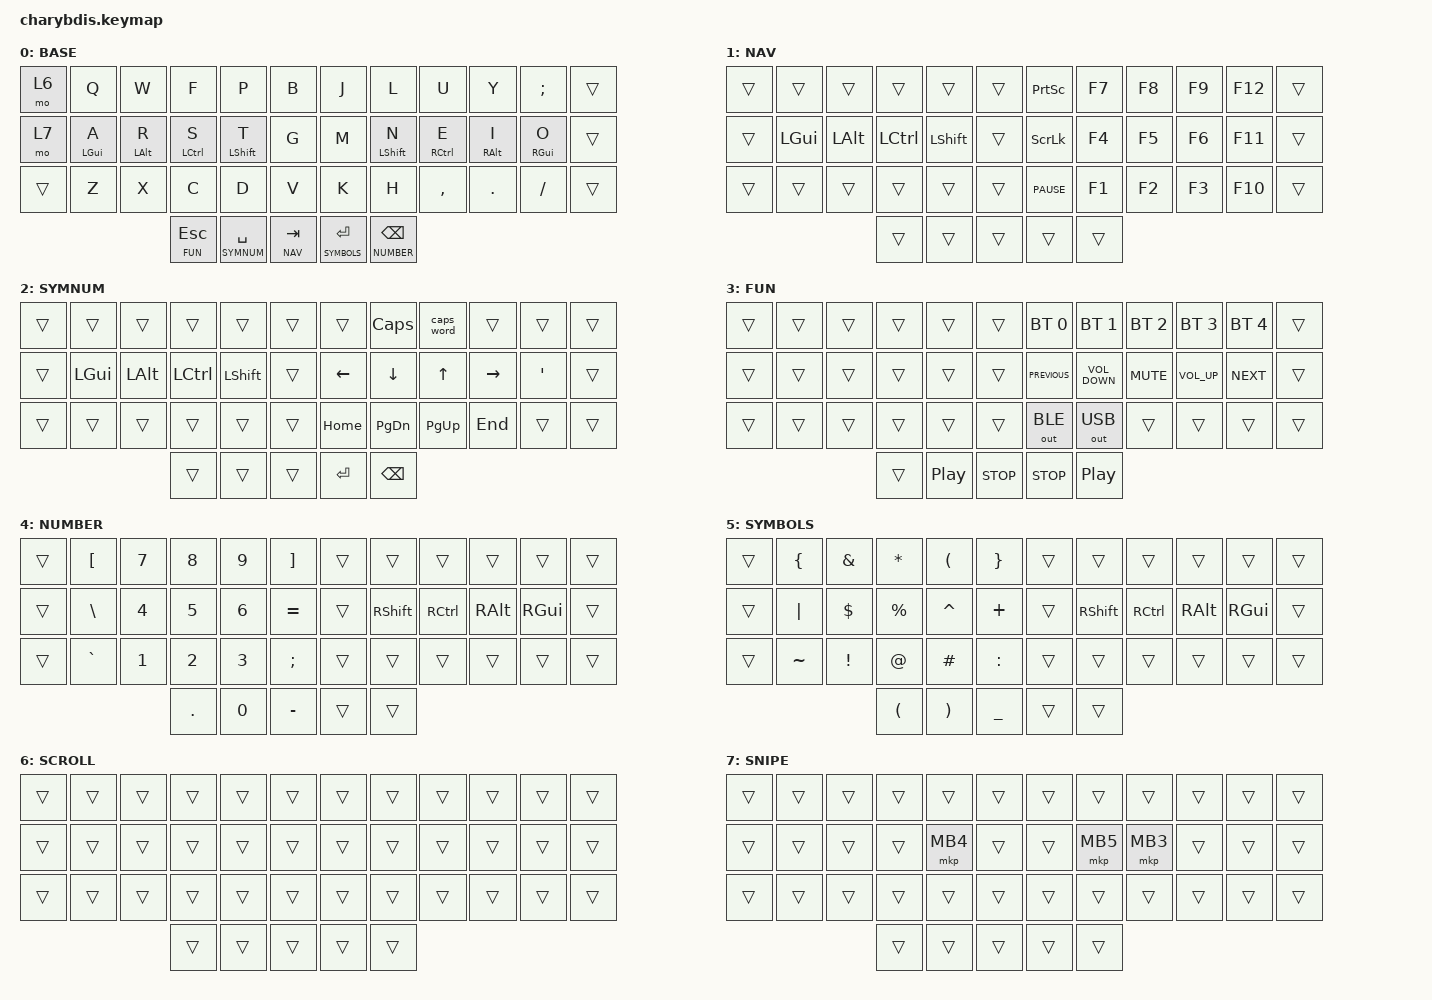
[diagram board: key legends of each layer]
#include <behaviors/mouse_keys.dtsi>
#include <behaviors.dtsi>
#include <dt-bindings/zmk/bt.h>
#include <dt-bindings/zmk/keys.h>
#include <dt-bindings/zmk/pointing.h>
#include <dt-bindings/zmk/outputs.h>

#define U_TAPPING_TERM 175
#define BASE 0
#define NAV 1
#define SYMNUM 2
#define FUN 3
#define NUMBER 4
#define SYMBOLS 5
#define SCROLL 6
#define SNIPE 7

/ {
    chosen { zmk,matrix_transform = &default_transform; };
};

/ {
    combos {
        compatible = "zmk,combos";

        LeftClickLeft {
            bindings = <&mkp LCLK>;
            key-positions = <28 27>;
        };

        RightClickLeft {
            bindings = <&mkp RCLK>;
            key-positions = <27 26>;
        };

        MiddleClickLeft {
            bindings = <&mkp MCLK>;
            key-positions = <25 26>;
        };

        CapsWord {
            bindings = <&caps_word>;
            key-positions = <17 18>;
            timeout-ms = <5000>;
        };

        CAPS_LOCK {
            bindings = <&kp CAPSLOCK>;
            key-positions = <5 6>;
        };

        LeftClickRight {
            bindings = <&mkp LCLK>;
            key-positions = <32 31>;
        };

        RightClickRight {
            bindings = <&mkp RCLK>;
            key-positions = <32 33>;
        };

        MiddleClickRight {
            bindings = <&mkp MCLK>;
            key-positions = <33 34>;
        };

        Back {
            bindings = <&mkp MB4>;
            key-positions = <1 2>;
        };

        Forward {
            bindings = <&mkp MB5>;
            key-positions = <10 9>;
        };
    };

    behaviors {
        u_mt: u_mt {
            compatible = "zmk,behavior-hold-tap";
            #binding-cells = <2>;
            tapping-term-ms = <U_TAPPING_TERM>;
            flavor = "tap-preferred";
            bindings = <&kp>, <&kp>;
        };

        u_lt: u_lt {
            compatible = "zmk,behavior-hold-tap";
            #binding-cells = <2>;
            tapping-term-ms = <U_TAPPING_TERM>;
            flavor = "tap-preferred";
            bindings = <&mo>, <&kp>;

            quick-tap-ms = <U_TAPPING_TERM>;
        };
    };

    keymap {
        compatible = "zmk,keymap";

        BASE {
            bindings = <
&mo 6   &kp Q             &kp W             &kp F          &kp P               &kp B            &kp J              &kp L               &kp U          &kp Y              &kp SEMI           &trans
&mo 7   &u_mt LEFT_GUI A  &u_mt LEFT_ALT R  &u_mt LCTRL S  &u_mt LEFT_SHIFT T  &kp G            &kp M              &u_mt LEFT_SHIFT N  &u_mt RCTRL E  &u_mt RIGHT_ALT I  &u_mt RIGHT_GUI O  &trans
&trans  &kp Z             &kp X             &kp C          &kp D               &kp V            &kp K              &kp H               &kp COMMA      &kp DOT            &kp SLASH          &trans
                                            &u_lt FUN ESC  &u_lt SYMNUM SPACE  &u_lt NAV TAB    &u_lt SYMBOLS RET  &u_lt NUMBER BSPC
            >;
        };

        NAV {
            bindings = <
&trans  &trans        &trans        &trans     &trans          &trans    &kp PRINTSCREEN  &kp F7  &kp F8  &kp F9  &kp F12  &trans
&trans  &kp LEFT_GUI  &kp LEFT_ALT  &kp LCTRL  &kp LEFT_SHIFT  &trans    &kp SCROLLLOCK   &kp F4  &kp F5  &kp F6  &kp F11  &trans
&trans  &trans        &trans        &trans     &trans          &trans    &kp C_PAUSE      &kp F1  &kp F2  &kp F3  &kp F10  &trans
                                    &trans     &trans          &trans    &trans           &trans
            >;
        };

        SYMNUM {
            bindings = <
&trans  &trans        &trans        &trans     &trans          &trans    &trans          &kp CAPS        &caps_word    &trans     &trans    &trans
&trans  &kp LEFT_GUI  &kp LEFT_ALT  &kp LCTRL  &kp LEFT_SHIFT  &trans    &kp LEFT_ARROW  &kp DOWN_ARROW  &kp UP_ARROW  &kp RIGHT  &kp APOS  &trans
&trans  &trans        &trans        &trans     &trans          &trans    &kp HOME        &kp PAGE_DOWN   &kp PAGE_UP   &kp END    &trans    &trans
                                    &trans     &trans          &trans    &kp ENTER       &kp BACKSPACE
            >;
        };

        FUN {
            bindings = <
&trans  &trans  &trans  &trans  &trans            &trans        &bt BT_SEL 0    &bt BT_SEL 1       &bt BT_SEL 2  &bt BT_SEL 3     &bt BT_SEL 4  &trans
&trans  &trans  &trans  &trans  &trans            &trans        &kp C_PREVIOUS  &kp C_VOLUME_DOWN  &kp K_MUTE    &kp C_VOLUME_UP  &kp C_NEXT    &trans
&trans  &trans  &trans  &trans  &trans            &trans        &out OUT_BLE    &out OUT_USB       &trans        &trans           &trans        &trans
                                &trans  &kp C_PLAY_PAUSE  &kp C_STOP    &kp C_STOP      &kp C_PLAY_PAUSE
            >;
        };

        NUMBER {
            bindings = <
&trans  &kp LEFT_BRACKET  &kp N7  &kp N8   &kp N9  &kp RIGHT_BRACKET    &trans  &trans     &trans     &trans         &trans         &trans
&trans  &kp BACKSLASH     &kp N4  &kp N5   &kp N6  &kp EQUAL            &trans  &kp RSHFT  &kp RCTRL  &kp RIGHT_ALT  &kp RIGHT_GUI  &trans
&trans  &kp GRAVE         &kp N1  &kp N2   &kp N3  &kp SEMICOLON        &trans  &trans     &trans     &trans         &trans         &trans
                                  &kp DOT  &kp N0  &kp MINUS            &trans  &trans
            >;
        };

        SYMBOLS {
            bindings = <
&trans  &kp LEFT_BRACE  &kp AMPERSAND  &kp ASTERISK          &kp LEFT_PARENTHESIS   &kp RIGHT_BRACE    &trans  &trans     &trans     &trans    &trans    &trans
&trans  &kp PIPE        &kp DOLLAR     &kp PERCENT           &kp CARET              &kp PLUS           &trans  &kp RSHFT  &kp RCTRL  &kp RALT  &kp RGUI  &trans
&trans  &kp TILDE       &kp EXCL       &kp AT                &kp HASH               &kp COLON          &trans  &trans     &trans     &trans    &trans    &trans
                                       &kp LEFT_PARENTHESIS  &kp RIGHT_PARENTHESIS  &kp UNDERSCORE     &trans  &trans
            >;
        };

        // SCROLL: Dedicated scroll wheel layer with mouse button access
        // Activated via &mo SCROLL on BASE layer (left thumb key)
        // Provides quick access to scroll directions and SNIPE layer

        SCROLL {
            bindings = <
&trans  &trans  &trans  &trans  &trans  &trans    &trans  &trans  &trans  &trans  &trans  &trans
&trans  &trans  &trans  &trans  &trans  &trans    &trans  &trans  &trans  &trans  &trans  &trans
&trans  &trans  &trans  &trans  &trans  &trans    &trans  &trans  &trans  &trans  &trans  &trans
                        &trans  &trans  &trans    &trans  &trans
            >;
        };

        // SNIPE: Gaming/mouse layer with quick-access to mouse buttons and scroll controls
        // Activated via &mo SNIPE on BASE layer (top-left key)
        // Can be toggled on with &tog SNIPE within the layer itself

        SNIPE {
            bindings = <
&trans  &trans  &trans  &trans  &trans    &trans    &trans  &trans    &trans    &trans  &trans  &trans
&trans  &trans  &trans  &trans  &mkp MB4  &trans    &trans  &mkp MB5  &mkp MB3  &trans  &trans  &trans
&trans  &trans  &trans  &trans  &trans    &trans    &trans  &trans    &trans    &trans  &trans  &trans
                        &trans  &trans    &trans    &trans  &trans
            >;
        };
    };
};
